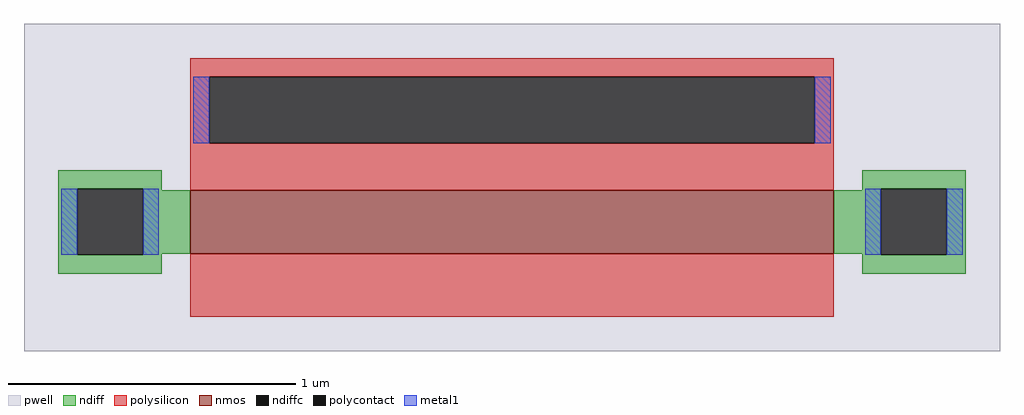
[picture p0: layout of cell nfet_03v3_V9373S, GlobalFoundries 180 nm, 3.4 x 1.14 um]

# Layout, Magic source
magic
tech gf180mcuC
magscale 1 10
<< pwell >>
rect -340 -114 340 114
<< nmos >>
rect -224 -46 224 -2
<< ndiff >>
rect -316 -1 -244 12
rect -316 -47 -303 -1
rect -257 -2 -244 -1
rect 244 -1 316 12
rect 244 -2 257 -1
rect -257 -46 -224 -2
rect 224 -46 257 -2
rect -257 -47 -244 -46
rect -316 -60 -244 -47
rect 244 -47 257 -46
rect 303 -47 316 -1
rect 244 -60 316 -47
<< ndiffc >>
rect -303 -47 -257 -1
rect 257 -47 303 -1
<< polysilicon >>
rect -224 77 224 90
rect -224 31 -211 77
rect 211 31 224 77
rect -224 -2 224 31
rect -224 -90 224 -46
<< polycontact >>
rect -211 31 211 77
<< metal1 >>
rect -222 31 -211 77
rect 211 31 222 77
rect -314 -47 -303 -1
rect -257 -47 -246 -1
rect 246 -47 257 -1
rect 303 -47 314 -1
<< properties >>
string gencell nfet_03v3
string library gf180mcu
string parameters w 0.22 l 2.24 m 1 nf 1 diffcov 100 polycov 100 guard 0 glc 0 grc 0 gtc 0 gbc 0 tbcov 100 rlcov 100 topc 1 botc 0 poverlap 0 doverlap 0 lmin 0.28 wmin 0.22 class mosfet full_metal 0 compatible {nfet_03v3 nfet_05v0 nfet_06v0 nfet_06v0_nvt}
<< end >>
